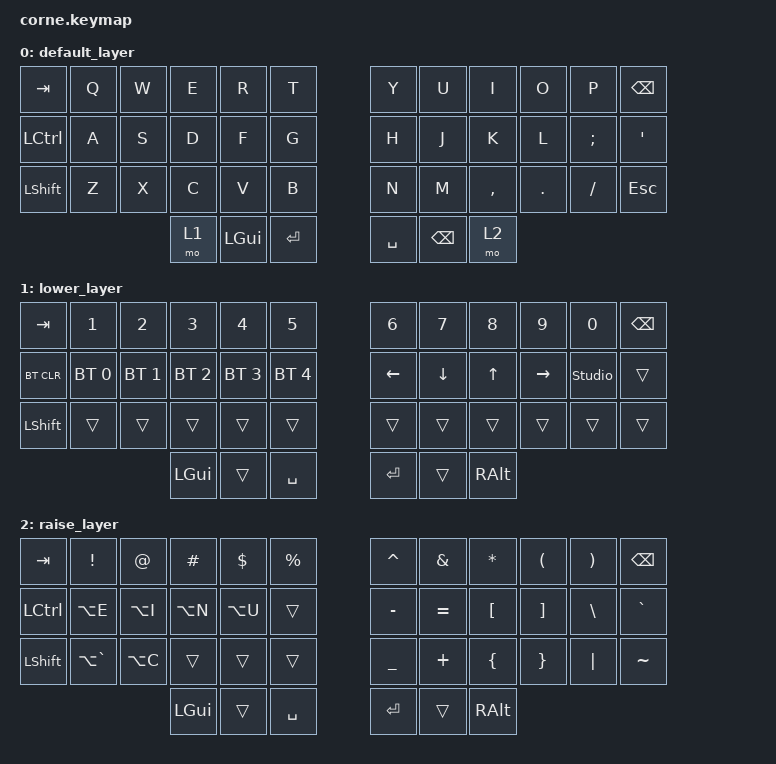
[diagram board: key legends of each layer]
/*
 * Copyright (c) 2020 The ZMK Contributors
 *
 * SPDX-License-Identifier: MIT
 */

#include <behaviors.dtsi>
#include <dt-bindings/zmk/keys.h>
#include <dt-bindings/zmk/bt.h>

/ {
        keymap {
                compatible = "zmk,keymap";

                default_layer {
// -----------------------------------------------------------------------------------------
// |  TAB |  Q  |  W  |  E  |  R  |  T  |   |  Y  |  U   |  I  |  O  |  P  | BSPC |
// | CTRL |  A  |  S  |  D  |  F  |  G  |   |  H  |  J   |  K  |  L  |  ;  |  '   |
// | SHFT |  Z  |  X  |  C  |  V  |  B  |   |  N  |  M   |  ,  |  .  |  /  | ESC  |
//                    | LWR | GUI | ENT |   | SPC | BSPC  | RSE |
                        bindings = <
   &kp TAB   &kp Q &kp W &kp E &kp R &kp T   &kp Y &kp U  &kp I     &kp O   &kp P    &kp BSPC
   &kp LCTRL &kp A &kp S &kp D &kp F &kp G   &kp H &kp J  &kp K     &kp L   &kp SEMI &kp SQT
   &kp LSHFT &kp Z &kp X &kp C &kp V &kp B   &kp N &kp M  &kp COMMA &kp DOT &kp FSLH &kp ESC
                  &mo 1 &kp LGUI &kp RET        &kp SPACE &kp BSPC &mo 2
                        >;
                };
                lower_layer {
// -----------------------------------------------------------------------------------------
// |  TAB |  1  |  2  |  3  |  4  |  5  |   |  6  |  7  |  8  |  9  |  0  | BSPC |
// | BTCLR| BT1 | BT2 | BT3 | BT4 | BT5 |   | LFT | DWN |  UP | RGT |UNLCK|      |
// | SHFT |     |     |     |     |     |   |     |     |     |     |     |      |
//                    | GUI |     | SPC |   | ENT |     | ALT |
                        bindings = <
   &kp TAB    &kp N1       &kp N2       &kp N3       &kp N4       &kp N5         &kp N6   &kp N7   &kp N8 &kp N9    &kp N0 &kp BSPC
   &bt BT_CLR &bt BT_SEL 0 &bt BT_SEL 1 &bt BT_SEL 2 &bt BT_SEL 3 &bt BT_SEL 4   &kp LEFT &kp DOWN &kp UP &kp RIGHT &studio_unlock &trans
   &kp LSHFT  &trans       &trans       &trans       &trans       &trans         &trans   &trans   &trans &trans    &trans &trans
                                    &kp LGUI     &trans       &kp SPACE      &kp RET  &trans   &kp RALT
                        >;
                };

                raise_layer {
// -----------------------------------------------------------------------------------------
// Left home keys are macOS dead keys: tap an accent, then type a vowel (á ã â à ü, etc).
// |  TAB |  !  |  @  |  #  |  $  |  %  |   |  ^  |  &  |  *  |  (  |  )  | BSPC |
// | CTRL |  ´  |  ^  |  ~  |  ¨  |     |   |  -  |  =  |  [  |  ]  |  \  |  `   |
// | SHFT |  `  |  ç  |     |     |     |   |  _  |  +  |  {  |  }  | "|" |  ~   |
//                    | GUI |     | SPC |   | ENT |     | ALT |
                        bindings = <
   &kp  TAB  &kp EXCL    &kp AT    &kp HASH  &kp DLLR  &kp PRCNT   &kp CARET &kp AMPS  &kp ASTRK &kp LPAR &kp RPAR &kp BSPC
   &kp LCTRL &kp LA(E)   &kp LA(I) &kp LA(N) &kp LA(U) &trans      &kp MINUS &kp EQUAL &kp LBKT  &kp RBKT &kp BSLH &kp GRAVE
   &kp LSHFT &kp LA(GRAVE) &kp LA(C) &trans  &trans    &trans      &kp UNDER &kp PLUS  &kp LBRC  &kp RBRC &kp PIPE &kp TILDE
                             &kp LGUI &trans   &kp SPACE   &kp RET   &trans    &kp RALT
                        >;
                };
        };
};
